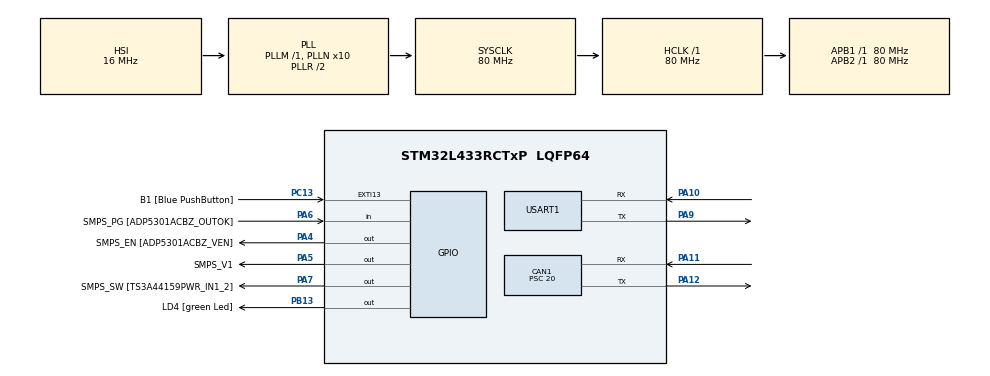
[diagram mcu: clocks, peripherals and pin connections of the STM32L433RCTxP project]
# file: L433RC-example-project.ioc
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CAN1.BS1=CAN_BS1_2TQ
CAN1.BS2=CAN_BS2_1TQ
CAN1.CalculateBaudRate=1000000
CAN1.CalculateTimeBit=1000
CAN1.CalculateTimeQuantum=250.0
CAN1.Prescaler=20
Mcu.Family=STM32L4
Mcu.Name=STM32L433RCTxP
Mcu.Package=LQFP64
NVIC.CAN1_RX0_IRQn=true\:0\:0\:false\:false\:true\:true\:true\:true
NVIC.PriorityGroup=NVIC_PRIORITYGROUP_4
PA10.Mode=Asynchronous
PA10.Signal=USART1_RX
PA11.Mode=CAN_Activate
PA11.Signal=CAN1_RX
PA12.Mode=CAN_Activate
PA12.Signal=CAN1_TX
PA13\ (JTMS-SWDIO).GPIO_Label=TMS
PA13\ (JTMS-SWDIO).Signal=SYS_JTMS-SWDIO
PA14\ (JTCK-SWCLK).GPIO_Label=TCK
PA14\ (JTCK-SWCLK).Signal=SYS_JTCK-SWCLK
PA2.GPIO_Label=USART_TX
PA2.GPIO_Mode=GPIO_MODE_AF_PP
PA2.GPIO_PuPd=GPIO_NOPULL
PA2.GPIO_Speed=GPIO_SPEED_FREQ_VERY_HIGH
PA2.Signal=USART2_TX
PA3.GPIO_Label=USART_RX
PA3.GPIO_Mode=GPIO_MODE_AF_PP
PA3.GPIO_PuPd=GPIO_NOPULL
PA3.GPIO_Speed=GPIO_SPEED_FREQ_VERY_HIGH
PA3.Signal=USART2_RX
PA4.GPIO_Label=SMPS_EN [ADP5301ACBZ_VEN]
PA4.Signal=GPIO_Output
PA5.GPIO_Label=SMPS_V1
PA5.GPIO_ModeDefaultOutputPP=GPIO_MODE_OUTPUT_PP
PA5.GPIO_PuPd=GPIO_NOPULL
PA5.GPIO_Speed=GPIO_SPEED_FREQ_LOW
PA5.Signal=GPIO_Output
PA6.GPIO_Label=SMPS_PG [ADP5301ACBZ_OUTOK]
PA6.GPIO_PuPd=GPIO_PULLUP
PA6.Signal=GPIO_Input
PA7.GPIO_Label=SMPS_SW [TS3A44159PWR_IN1_2]
PA7.Signal=GPIO_Output
PA9.Mode=Asynchronous
PA9.Signal=USART1_TX
PB13.GPIO_Label=LD4 [green Led]
PB13.Signal=GPIO_Output
PB3\ (JTDO-TRACESWO).GPIO_Label=SWO
PB3\ (JTDO-TRACESWO).Signal=SYS_JTDO-SWO
PC13.GPIO_Label=B1 [Blue PushButton]
PC13.GPIO_ModeDefaultEXTI=GPIO_MODE_IT_FALLING
PC13.GPIO_PuPd=GPIO_NOPULL
PC13.Signal=GPXTI13
PC14-OSC32_IN\ (PC14).Signal=RCC_OSC32_IN
PC15-OSC32_OUT\ (PC15).Signal=RCC_OSC32_OUT
PH0-OSC_IN\ (PH0).GPIO_Label=MCO
PH0-OSC_IN\ (PH0).Signal=RCC_OSC_IN
PH1-OSC_OUT\ (PH1).Signal=RCC_OSC_OUT
ProjectManager.HeapSize=0x200
ProjectManager.StackSize=0x400
ProjectManager.TargetToolchain=STM32CubeIDE
RCC.ADCFreq_Value=64000000
RCC.AHBFreq_Value=80000000
RCC.APB1Freq_Value=80000000
RCC.APB1TimFreq_Value=80000000
RCC.APB2Freq_Value=80000000
RCC.APB2TimFreq_Value=80000000
RCC.CortexFreq_Value=80000000
RCC.HCLKFreq_Value=80000000
RCC.HSE_VALUE=8000000
RCC.HSI48_VALUE=48000000
RCC.HSI_VALUE=16000000
RCC.LSE_VALUE=32768
RCC.MSI_VALUE=4000000
RCC.PLLN=10
RCC.PLLSourceVirtual=RCC_PLLSOURCE_HSI
RCC.PREFETCH_ENABLE=1
RCC.SYSCLKFreq_VALUE=80000000
RCC.SYSCLKSource=RCC_SYSCLKSOURCE_PLLCLK
RCC.USBFreq_Value=64000000
RCC.VCOOutputFreq_Value=160000000
USART1.VirtualMode-Asynchronous=VM_ASYNC
board=NUCLEO-L433RC-P

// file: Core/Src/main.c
/* USER CODE BEGIN Header */
/**
  ******************************************************************************
  * @file           : main.c
  * @brief          : Main program body
  ******************************************************************************
  * @attention
  *
  * Copyright (c) 2024 STMicroelectronics.
  * All rights reserved.
  *
  * This software is licensed under terms that can be found in the LICENSE file
  * in the root directory of this software component.
  * If no LICENSE file comes with this software, it is provided AS-IS.
  *
  ******************************************************************************
  */
/* USER CODE END Header */
#include "main.h"
#include "can.h"
#include "usart.h"
#include "gpio.h"

/* USER CODE BEGIN Includes */
#include "canard_stm32_driver.h"
#include <time.h>
#include <stdio.h>
#include "dronecan_msgs.h"
#include "node_config.h"
/* USER CODE END Includes */

/* USER CODE BEGIN PTD */
extern struct uavcan_protocol_NodeStatus nodeStatus;
/* USER CODE END PTD */

/* USER CODE BEGIN PV */
static CanardInstance canard;
static uint8_t memory_pool[1024];
static struct uavcan_protocol_NodeStatus node_status;
/* USER CODE END PV */

void SystemClock_Config(void);
/* USER CODE BEGIN PFP */
static void goto_application(void);
/* USER CODE END PFP */

int main(void)
{

  /* USER CODE BEGIN 1 */
	nodeStatus.health = UAVCAN_PROTOCOL_NODESTATUS_HEALTH_OK;
	nodeStatus.mode = UAVCAN_PROTOCOL_NODESTATUS_MODE_INITIALIZATION;
	nodeStatus.sub_mode = 0;
	nodeStatus.vendor_specific_status_code = 0;
  /* USER CODE END 1 */

  /* MCU Configuration--------------------------------------------------------*/

  /* Reset of all peripherals, Initializes the Flash interface and the Systick. */
  HAL_Init();

  /* Configure the system clock */
  SystemClock_Config();

  /* Initialize all configured peripherals */
  MX_GPIO_Init();
  MX_CAN1_Init();
  MX_USART1_UART_Init();
  /* USER CODE BEGIN 2 */
  printf("STARTING BOOTLOADER...");
  HAL_GPIO_WritePin(GPIOB, GPIO_PIN_13, GPIO_PIN_SET);

  initCAN();

   nodeStatus.mode = UAVCAN_PROTOCOL_NODESTATUS_MODE_OPERATIONAL;

  /* USER CODE END 2 */

  /* Infinite loop */
  while (1)
  {

    /* USER CODE BEGIN 3 */
	if(fwupdate.node_id != 0){
	  sendFirmwareRead();
	}

	sendCANTx();
	periodicCANTasks();

	goto_application();
  }
  /* USER CODE END 3 */
}

void SystemClock_Config(void)
{
  RCC_OscInitTypeDef RCC_OscInitStruct = {0};
  RCC_ClkInitTypeDef RCC_ClkInitStruct = {0};

  /** Configure the main internal regulator output voltage
  */
  if (HAL_PWREx_ControlVoltageScaling(PWR_REGULATOR_VOLTAGE_SCALE1) != HAL_OK)
  {
    Error_Handler();
  }

  /** Initializes the RCC Oscillators according to the specified parameters
  * in the RCC_OscInitTypeDef structure.
  */
  RCC_OscInitStruct.OscillatorType = RCC_OSCILLATORTYPE_HSI;
  RCC_OscInitStruct.HSIState = RCC_HSI_ON;
  RCC_OscInitStruct.HSICalibrationValue = RCC_HSICALIBRATION_DEFAULT;
  RCC_OscInitStruct.PLL.PLLState = RCC_PLL_ON;
  RCC_OscInitStruct.PLL.PLLSource = RCC_PLLSOURCE_HSI;
  RCC_OscInitStruct.PLL.PLLM = 1;
  RCC_OscInitStruct.PLL.PLLN = 10;
  RCC_OscInitStruct.PLL.PLLP = RCC_PLLP_DIV7;
  RCC_OscInitStruct.PLL.PLLQ = RCC_PLLQ_DIV2;
  RCC_OscInitStruct.PLL.PLLR = RCC_PLLR_DIV2;
  if (HAL_RCC_OscConfig(&RCC_OscInitStruct) != HAL_OK)
  {
    Error_Handler();
  }

  /** Initializes the CPU, AHB and APB buses clocks
  */
  RCC_ClkInitStruct.ClockType = RCC_CLOCKTYPE_HCLK|RCC_CLOCKTYPE_SYSCLK
                              |RCC_CLOCKTYPE_PCLK1|RCC_CLOCKTYPE_PCLK2;
  RCC_ClkInitStruct.SYSCLKSource = RCC_SYSCLKSOURCE_PLLCLK;
  RCC_ClkInitStruct.AHBCLKDivider = RCC_SYSCLK_DIV1;
  RCC_ClkInitStruct.APB1CLKDivider = RCC_HCLK_DIV1;
  RCC_ClkInitStruct.APB2CLKDivider = RCC_HCLK_DIV1;

  if (HAL_RCC_ClockConfig(&RCC_ClkInitStruct, FLASH_LATENCY_4) != HAL_OK)
  {
    Error_Handler();
  }
}

/* USER CODE BEGIN 4 */
#ifdef __GNUC__
int __io_putchar(int ch)
#else
int fputc(int ch, FILE *f)
#endif
{
	HAL_UART_Transmit(&huart1, (uint8_t *)&ch, 1, HAL_MAX_DELAY);
}

static void goto_application(void){
	printf("Jumping to application...\n");
	void (*app_reset_handler)(void) = (void (*)(void))(*(volatile uint32_t*)(0x08020000 + 4));
	HAL_GPIO_WritePin(GPIOB, GPIO_PIN_13, GPIO_PIN_RESET);

	/* Reset the Clock */
	HAL_RCC_DeInit();
	HAL_DeInit();
	__set_MSP(*(volatile uint32_t*) 0x08020000);
	SysTick->CTRL = 0;
	SysTick->LOAD = 0;
	SysTick->VAL = 0;

	app_reset_handler();
}

/* USER CODE END 4 */

void Error_Handler(void)
{
  __disable_irq();
  while (1)
  {
  }
}
